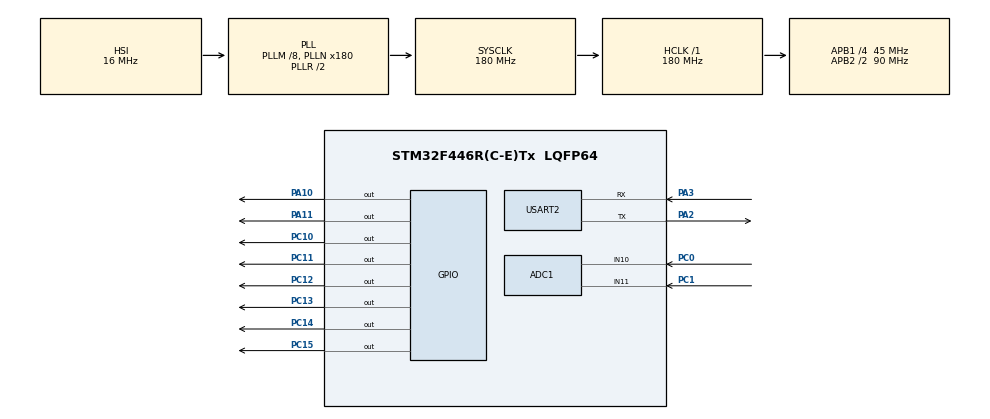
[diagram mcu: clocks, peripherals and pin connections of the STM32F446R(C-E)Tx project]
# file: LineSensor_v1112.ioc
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ADC1.Channel-0\#ChannelRegularConversion=ADC_CHANNEL_10
ADC1.Channel-1\#ChannelRegularConversion=ADC_CHANNEL_11
ADC1.ClockPrescaler=ADC_CLOCK_SYNC_PCLK_DIV4
ADC1.ContinuousConvMode=ENABLE
ADC1.DMAContinuousRequests=ENABLE
ADC1.NbrOfConversion=2
ADC1.NbrOfConversionFlag=1
ADC1.Rank-0\#ChannelRegularConversion=1
ADC1.Rank-1\#ChannelRegularConversion=2
ADC1.SamplingTime-0\#ChannelRegularConversion=ADC_SAMPLETIME_480CYCLES
ADC1.SamplingTime-1\#ChannelRegularConversion=ADC_SAMPLETIME_480CYCLES
ADC1.ScanConvMode=ENABLE
ADC1.master=1
Dma.ADC1.0.Direction=DMA_PERIPH_TO_MEMORY
Dma.ADC1.0.FIFOMode=DMA_FIFOMODE_DISABLE
Dma.ADC1.0.Instance=DMA2_Stream0
Dma.ADC1.0.MemDataAlignment=DMA_MDATAALIGN_HALFWORD
Dma.ADC1.0.MemInc=DMA_MINC_ENABLE
Dma.ADC1.0.Mode=DMA_CIRCULAR
Dma.ADC1.0.PeriphDataAlignment=DMA_PDATAALIGN_HALFWORD
Dma.ADC1.0.PeriphInc=DMA_PINC_DISABLE
Dma.ADC1.0.Priority=DMA_PRIORITY_LOW
Dma.Request0=ADC1
Mcu.Family=STM32F4
Mcu.Name=STM32F446R(C-E)Tx
Mcu.Package=LQFP64
NVIC.DMA2_Stream0_IRQn=true\:0\:0\:false\:false\:true\:false\:true\:true
NVIC.PriorityGroup=NVIC_PRIORITYGROUP_4
PA10.Signal=GPIO_Output
PA11.Signal=GPIO_Output
PA13.Mode=Trace_Asynchronous_SW
PA13.Signal=SYS_JTMS-SWDIO
PA14.Mode=Trace_Asynchronous_SW
PA14.Signal=SYS_JTCK-SWCLK
PA2.Mode=Asynchronous
PA2.Signal=USART2_TX
PA3.Mode=Asynchronous
PA3.Signal=USART2_RX
PB3.Mode=Trace_Asynchronous_SW
PB3.Signal=SYS_JTDO-SWO
PC0.Signal=ADCx_IN10
PC1.Signal=ADCx_IN11
PC10.Signal=GPIO_Output
PC11.Signal=GPIO_Output
PC12.Signal=GPIO_Output
PC13.Signal=GPIO_Output
PC14-OSC32_IN.Signal=GPIO_Output
PC15-OSC32_OUT.Signal=GPIO_Output
PH0-OSC_IN.Mode=HSE-External-Oscillator
PH0-OSC_IN.Signal=RCC_OSC_IN
PH1-OSC_OUT.Mode=HSE-External-Oscillator
PH1-OSC_OUT.Signal=RCC_OSC_OUT
ProjectManager.HeapSize=0x200
ProjectManager.StackSize=0x400
ProjectManager.TargetToolchain=STM32CubeIDE
RCC.AHBFreq_Value=180000000
RCC.APB1CLKDivider=RCC_HCLK_DIV4
RCC.APB1Freq_Value=45000000
RCC.APB1TimFreq_Value=90000000
RCC.APB2CLKDivider=RCC_HCLK_DIV2
RCC.APB2Freq_Value=90000000
RCC.APB2TimFreq_Value=180000000
RCC.CortexFreq_Value=180000000
RCC.HCLKFreq_Value=180000000
RCC.HSE_VALUE=20000000
RCC.PLLM=8
RCC.PLLN=180
RCC.SYSCLKFreq_VALUE=180000000
RCC.SYSCLKSource=RCC_SYSCLKSOURCE_PLLRCLK
RCC.USBFreq_Value=180000000
RCC.VCOOutputFreq_Value=360000000
SH.ADCx_IN10.0=ADC1_IN10,IN10
SH.ADCx_IN11.0=ADC1_IN11,IN11
USART2.VirtualMode=VM_ASYNC
board=custom

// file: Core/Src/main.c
/* USER CODE BEGIN Header */
/**
  ******************************************************************************
  * @file           : main.c
  * @brief          : Main program body
  ******************************************************************************
  * @attention
  *
  * Copyright (c) 2023 STMicroelectronics.
  * All rights reserved.
  *
  * This software is licensed under terms that can be found in the LICENSE file
  * in the root directory of this software component.
  * If no LICENSE file comes with this software, it is provided AS-IS.
  *
  ******************************************************************************
  */
/* USER CODE END Header */
#include "main.h"

/* USER CODE BEGIN Includes */
#include <stdio.h>
#include <math.h>
/* USER CODE END Includes */

ADC_HandleTypeDef hadc1;
DMA_HandleTypeDef hdma_adc1;

UART_HandleTypeDef huart2;

void SystemClock_Config(void);
static void MX_GPIO_Init(void);
static void MX_DMA_Init(void);
static void MX_ADC1_Init(void);
static void MX_USART2_UART_Init(void);
/* USER CODE BEGIN PFP */
void line_check(void);
/* USER CODE END PFP */

/* USER CODE BEGIN 0 */
//int _cnt = 0;
//uint16_t analog[2];
//uint16_t value[32];
//uint16_t LineValue[32];
//uint16_t isOnLine[32];
//float _x,_y;
//float TrigVector[2][32];
//uint16_t Mux_Pattern[32][5] = {
//	{0,1,1,1,1},{1,0,1,1,1},{0,0,1,1,1},{1,1,0,1,1},
//	{0,1,0,1,1},{1,0,0,1,1},{0,0,0,1,1},{1,1,1,0,0},
//	{0,1,1,0,0},{1,0,1,0,0},{0,0,1,0,0},{1,1,0,0,0},
//	{0,1,0,0,0},{1,0,0,0,0},{0,0,0,0,0},{1,1,1,1,0},
//	{0,1,1,1,0},{1,0,1,1,0},{0,0,1,1,0},{1,1,0,1,0},
//	{0,1,0,1,0},{1,0,0,1,0},{0,0,0,1,0},{1,1,1,0,1},
//	{0,1,1,0,1},{1,0,1,0,1},{0,0,1,0,1},{1,1,0,0,1},
//	{0,1,0,0,1},{1,0,0,0,1},{0,0,0,0,1},{1,1,1,1,1}
//};
uint16_t analog[2];
uint16_t mux_cnt = 0;
uint16_t value[32] = {0};

//float TrigVector[2][32] = {0};
//uint16_t isOnLine[2][32] = {0};
uint16_t MuxCh[32][5] = {
  {0,1,1,1,1},{1,0,1,1,1},{0,0,1,1,1},{1,1,0,1,1},
  {0,1,0,1,1},{1,0,0,1,1},{0,0,0,1,1},{1,1,1,0,0},
  {0,1,1,0,0},{1,0,1,0,0},{0,0,1,0,0},{1,1,0,0,0},
  {0,1,0,0,0},{1,0,0,0,0},{0,0,0,0,0},{1,1,1,1,0},
  {0,1,1,1,0},{1,0,1,1,0},{0,0,1,1,0},{1,1,0,1,0},
  {0,1,0,1,0},{1,0,0,1,0},{0,0,0,1,0},{1,1,1,0,1},
  {0,1,1,0,1},{1,0,1,0,1},{0,0,1,0,1},{1,1,0,0,1},
  {0,1,0,0,1},{1,0,0,0,1},{0,0,0,0,1},{1,1,1,1,1}
};
/* USER CODE END 0 */

int main(void)
{

  /* MCU Configuration--------------------------------------------------------*/

  /* Reset of all peripherals, Initializes the Flash interface and the Systick. */
  HAL_Init();

  /* Configure the system clock */
  SystemClock_Config();

  /* Initialize all configured peripherals */
  MX_GPIO_Init();
  MX_DMA_Init();
  MX_ADC1_Init();
  MX_USART2_UART_Init();
  /* USER CODE BEGIN 2 */
  if (HAL_ADC_Start_DMA(&hadc1, (uint32_t *) analog, 2) != HAL_OK){
           Error_Handler();
  }
  HAL_GPIO_WritePin(GPIOA, GPIO_PIN_10, GPIO_PIN_RESET);
  HAL_GPIO_WritePin(GPIOA, GPIO_PIN_11, GPIO_PIN_RESET);
  HAL_GPIO_WritePin(GPIOC, GPIO_PIN_10, GPIO_PIN_RESET);
  HAL_GPIO_WritePin(GPIOC, GPIO_PIN_11, GPIO_PIN_RESET);
  HAL_GPIO_WritePin(GPIOC, GPIO_PIN_12, GPIO_PIN_RESET);
  HAL_GPIO_WritePin(GPIOC, GPIO_PIN_13, GPIO_PIN_RESET);
  HAL_GPIO_WritePin(GPIOC, GPIO_PIN_14, GPIO_PIN_RESET);
  HAL_GPIO_WritePin(GPIOC, GPIO_PIN_15, GPIO_PIN_RESET);
//  for (int i = 0; i < 32; i++) {
//	  TrigVector[0][i] = sin((360 / 32) * i * (M_PI / 180));
//	  TrigVector[1][i] = cos((360 / 32) * i * (M_PI / 180));
//  }
//  _x = 0; _y = 0;
  /* USER CODE END 2 */

  /* Infinite loop */
  while (1)
  {

  }
}

void SystemClock_Config(void)
{
  RCC_OscInitTypeDef RCC_OscInitStruct = {0};
  RCC_ClkInitTypeDef RCC_ClkInitStruct = {0};

  /** Configure the main internal regulator output voltage
  */
  __HAL_RCC_PWR_CLK_ENABLE();
  __HAL_PWR_VOLTAGESCALING_CONFIG(PWR_REGULATOR_VOLTAGE_SCALE1);

  /** Initializes the RCC Oscillators according to the specified parameters
  * in the RCC_OscInitTypeDef structure.
  */
  RCC_OscInitStruct.OscillatorType = RCC_OSCILLATORTYPE_HSI;
  RCC_OscInitStruct.HSIState = RCC_HSI_ON;
  RCC_OscInitStruct.HSICalibrationValue = RCC_HSICALIBRATION_DEFAULT;
  RCC_OscInitStruct.PLL.PLLState = RCC_PLL_ON;
  RCC_OscInitStruct.PLL.PLLSource = RCC_PLLSOURCE_HSI;
  RCC_OscInitStruct.PLL.PLLM = 8;
  RCC_OscInitStruct.PLL.PLLN = 180;
  RCC_OscInitStruct.PLL.PLLP = RCC_PLLP_DIV2;
  RCC_OscInitStruct.PLL.PLLQ = 2;
  RCC_OscInitStruct.PLL.PLLR = 2;
  if (HAL_RCC_OscConfig(&RCC_OscInitStruct) != HAL_OK)
  {
    Error_Handler();
  }

  /** Activate the Over-Drive mode
  */
  if (HAL_PWREx_EnableOverDrive() != HAL_OK)
  {
    Error_Handler();
  }

  /** Initializes the CPU, AHB and APB buses clocks
  */
  RCC_ClkInitStruct.ClockType = RCC_CLOCKTYPE_HCLK|RCC_CLOCKTYPE_SYSCLK
                              |RCC_CLOCKTYPE_PCLK1|RCC_CLOCKTYPE_PCLK2;
  RCC_ClkInitStruct.SYSCLKSource = RCC_SYSCLKSOURCE_PLLRCLK;
  RCC_ClkInitStruct.AHBCLKDivider = RCC_SYSCLK_DIV1;
  RCC_ClkInitStruct.APB1CLKDivider = RCC_HCLK_DIV4;
  RCC_ClkInitStruct.APB2CLKDivider = RCC_HCLK_DIV2;

  if (HAL_RCC_ClockConfig(&RCC_ClkInitStruct, FLASH_LATENCY_5) != HAL_OK)
  {
    Error_Handler();
  }
}

static void MX_ADC1_Init(void)
{

  ADC_ChannelConfTypeDef sConfig = {0};

  /** Configure the global features of the ADC (Clock, Resolution, Data Alignment and number of conversion)
  */
  hadc1.Instance = ADC1;
  hadc1.Init.ClockPrescaler = ADC_CLOCK_SYNC_PCLK_DIV4;
  hadc1.Init.Resolution = ADC_RESOLUTION_12B;
  hadc1.Init.ScanConvMode = ENABLE;
  hadc1.Init.ContinuousConvMode = ENABLE;
  hadc1.Init.DiscontinuousConvMode = DISABLE;
  hadc1.Init.ExternalTrigConvEdge = ADC_EXTERNALTRIGCONVEDGE_NONE;
  hadc1.Init.ExternalTrigConv = ADC_SOFTWARE_START;
  hadc1.Init.DataAlign = ADC_DATAALIGN_RIGHT;
  hadc1.Init.NbrOfConversion = 2;
  hadc1.Init.DMAContinuousRequests = ENABLE;
  hadc1.Init.EOCSelection = ADC_EOC_SINGLE_CONV;
  if (HAL_ADC_Init(&hadc1) != HAL_OK)
  {
    Error_Handler();
  }

  /** Configure for the selected ADC regular channel its corresponding rank in the sequencer and its sample time.
  */
  sConfig.Channel = ADC_CHANNEL_10;
  sConfig.Rank = 1;
  sConfig.SamplingTime = ADC_SAMPLETIME_480CYCLES;
  if (HAL_ADC_ConfigChannel(&hadc1, &sConfig) != HAL_OK)
  {
    Error_Handler();
  }

  /** Configure for the selected ADC regular channel its corresponding rank in the sequencer and its sample time.
  */
  sConfig.Channel = ADC_CHANNEL_11;
  sConfig.Rank = 2;
  if (HAL_ADC_ConfigChannel(&hadc1, &sConfig) != HAL_OK)
  {
    Error_Handler();
  }

}

static void MX_USART2_UART_Init(void)
{

  huart2.Instance = USART2;
  huart2.Init.BaudRate = 115200;
  huart2.Init.WordLength = UART_WORDLENGTH_8B;
  huart2.Init.StopBits = UART_STOPBITS_1;
  huart2.Init.Parity = UART_PARITY_NONE;
  huart2.Init.Mode = UART_MODE_TX_RX;
  huart2.Init.HwFlowCtl = UART_HWCONTROL_NONE;
  huart2.Init.OverSampling = UART_OVERSAMPLING_16;
  if (HAL_UART_Init(&huart2) != HAL_OK)
  {
    Error_Handler();
  }

}

static void MX_DMA_Init(void)
{

  /* DMA controller clock enable */
  __HAL_RCC_DMA2_CLK_ENABLE();

  /* DMA interrupt init */
  /* DMA2_Stream0_IRQn interrupt configuration */
  HAL_NVIC_SetPriority(DMA2_Stream0_IRQn, 0, 0);
  HAL_NVIC_EnableIRQ(DMA2_Stream0_IRQn);

}

static void MX_GPIO_Init(void)
{
  GPIO_InitTypeDef GPIO_InitStruct = {0};

  /* GPIO Ports Clock Enable */
  __HAL_RCC_GPIOC_CLK_ENABLE();
  __HAL_RCC_GPIOH_CLK_ENABLE();
  __HAL_RCC_GPIOA_CLK_ENABLE();
  __HAL_RCC_GPIOB_CLK_ENABLE();

  /*Configure GPIO pin Output Level */
  HAL_GPIO_WritePin(GPIOC, GPIO_PIN_13|GPIO_PIN_14|GPIO_PIN_15|GPIO_PIN_10
                          |GPIO_PIN_11|GPIO_PIN_12, GPIO_PIN_RESET);

  /*Configure GPIO pin Output Level */
  HAL_GPIO_WritePin(GPIOA, GPIO_PIN_10|GPIO_PIN_11, GPIO_PIN_RESET);

  /*Configure GPIO pins : PC13 PC14 PC15 PC10
                           PC11 PC12 */
  GPIO_InitStruct.Pin = GPIO_PIN_13|GPIO_PIN_14|GPIO_PIN_15|GPIO_PIN_10
                          |GPIO_PIN_11|GPIO_PIN_12;
  GPIO_InitStruct.Mode = GPIO_MODE_OUTPUT_PP;
  GPIO_InitStruct.Pull = GPIO_NOPULL;
  GPIO_InitStruct.Speed = GPIO_SPEED_FREQ_LOW;
  HAL_GPIO_Init(GPIOC, &GPIO_InitStruct);

  /*Configure GPIO pins : PA10 PA11 */
  GPIO_InitStruct.Pin = GPIO_PIN_10|GPIO_PIN_11;
  GPIO_InitStruct.Mode = GPIO_MODE_OUTPUT_PP;
  GPIO_InitStruct.Pull = GPIO_NOPULL;
  GPIO_InitStruct.Speed = GPIO_SPEED_FREQ_LOW;
  HAL_GPIO_Init(GPIOA, &GPIO_InitStruct);

}

/* USER CODE BEGIN 4 */
void HAL_ADC_ConvCpltCallback(ADC_HandleTypeDef* AdcHandle) {
	//ADC後にこの関数が呼ばれる

  value[mux_cnt] = analog[MuxCh[mux_cnt][5]];
  mux_cnt++;
  if(mux_cnt > 16) mux_cnt = 0;

  if(MuxCh[mux_cnt][5] == 0) {
   HAL_GPIO_WritePin(GPIOC,GPIO_PIN_12,MuxCh[mux_cnt][0]);
   HAL_GPIO_WritePin(GPIOC,GPIO_PIN_13,MuxCh[mux_cnt][1]);
   HAL_GPIO_WritePin(GPIOC,GPIO_PIN_14,MuxCh[mux_cnt][2]);
   HAL_GPIO_WritePin(GPIOC,GPIO_PIN_15,MuxCh[mux_cnt][3]);
  }
  else {
	HAL_GPIO_WritePin(GPIOA,GPIO_PIN_11,MuxCh[mux_cnt][0]);
	HAL_GPIO_WritePin(GPIOA,GPIO_PIN_10,MuxCh[mux_cnt][1]);
	HAL_GPIO_WritePin(GPIOC,GPIO_PIN_10,MuxCh[mux_cnt][2]);
	HAL_GPIO_WritePin(GPIOC,GPIO_PIN_11,MuxCh[mux_cnt][3]);
  }
//  HAL_Delay(10);

//	value[_cnt] = analog[Mux_Pattern[_cnt][5]];
//	isOnLine[_cnt] = (value[_cnt] > 2000);
//	if(_cnt < 31) _cnt++;
//	else _cnt = 0;
//	line_check();
}

// B14 B13 ... B8 A7 A6 ~ A0 A15
// A14~A8 B7~0 B15
void line_check(void) {
//  if(Mux_Pattern[_cnt][5] == 1) {
//	HAL_GPIO_WritePin(GPIOA,GPIO_PIN_11,Mux_Pattern[_cnt][0]);
//	HAL_GPIO_WritePin(GPIOA,GPIO_PIN_10,Mux_Pattern[_cnt][1]);
//	HAL_GPIO_WritePin(GPIOC,GPIO_PIN_10,Mux_Pattern[_cnt][2]);
//	HAL_GPIO_WritePin(GPIOC,GPIO_PIN_11,Mux_Pattern[_cnt][3]);
//  }
//  else {
//    HAL_GPIO_WritePin(GPIOC,GPIO_PIN_12,Mux_Pattern[_cnt][0]);
//    HAL_GPIO_WritePin(GPIOC,GPIO_PIN_13,Mux_Pattern[_cnt][1]);
//    HAL_GPIO_WritePin(GPIOC,GPIO_PIN_14,Mux_Pattern[_cnt][2]);
//    HAL_GPIO_WritePin(GPIOC,GPIO_PIN_15,Mux_Pattern[_cnt][3]);
//  }
}
/* USER CODE END 4 */

void Error_Handler(void)
{
  __disable_irq();
  while (1)
  {
  }
}
